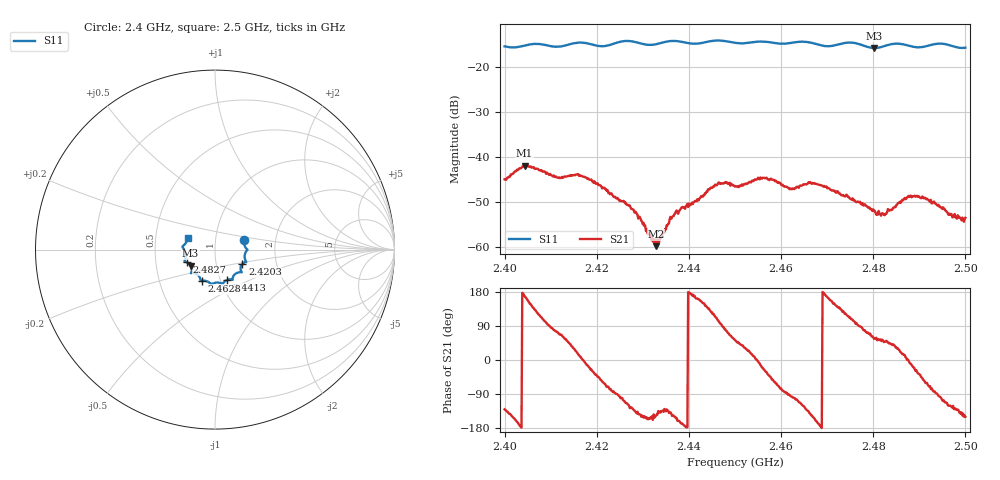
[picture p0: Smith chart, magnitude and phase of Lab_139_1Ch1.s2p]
# Hz S RI R 50
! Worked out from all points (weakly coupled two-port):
!   601 points, 2.4 GHz to 2.5 GHz, reference 50 ohm
!   highest |S21| = -41.88 dB at 2.4043 GHz (marker M1); lowest = -59.7 dB at 2.4328 GHz (marker M2)
!   lowest |S11| = -15.8 dB at 2.4802 GHz (marker M3), VSWR 1.39, Z = 37.5 - j6.92 ohm
!   |S11| at or under -10 dB: start of sweep to end of sweep
!   S12 and S22 are empty: the file has one direction only
!   S11 on the Smith chart (normalised r, x): 2.4 GHz: 1.38, +0.15; 2.4203 GHz: 1.34, -0.22; 2.4413 GHz: 1.08, -0.38; 2.4628 GHz: 0.82, -0.29; 2.4827 GHz: 0.72, -0.10; 2.5 GHz: 0.73, +0.10
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2.4e9  0.1616 0.0528  -0.00367 -0.00434  0 0  0 0
2.404333e9  0.1735 0.00717  -0.0079 0.00158  0 0  0 0
2.411833e9  0.165 -0.0349  0.00223 0.00555  0 0  0 0
2.416667e9  0.1742 -0.069  0.00619 0.000508  0 0  0 0
2.420333e9  0.1525 -0.0792  0.00352 -0.00342  0 0  0 0
2.4275e9  0.1474 -0.1261  -0.00153 -0.00219  0 0  0 0
2.432833e9  0.1023 -0.1477  -0.000868 -0.000555  0 0  0 0
2.433333e9  0.1002 -0.1521  -0.000837 -0.000848  0 0  0 0
2.436833e9  0.098 -0.1689  -0.002 -0.00119  0 0  0 0
2.441333e9  0.0668 -0.1692  -0.00318 0.000805  0 0  0 0
2.446167e9  0.0424 -0.1931  -0.00142 0.00476  0 0  0 0
2.45e9  0.0244 -0.1846  0.00286 0.00376  0 0  0 0
2.4565e9  -0.022 -0.1905  0.00513 -0.00281  0 0  0 0
2.462833e9  -0.0718 -0.1737  -0.000771 -0.00435  0 0  0 0
2.466667e9  -0.0808 -0.1675  -0.0042 -0.00284  0 0  0 0
2.480167e9  -0.136 -0.0898  0.00143 0.0021  0 0  0 0
2.482667e9  -0.1579 -0.0705  0.00155 0.00176  0 0  0 0
2.483333e9  -0.163 -0.0684  0.00188 0.00182  0 0  0 0
2.487167e9  -0.167 -0.0554  0.00345 0.000325  0 0  0 0
2.489333e9  -0.1636 -0.0307  0.00329 -0.00164  0 0  0 0
2.4945e9  -0.1817 0.0162  -0.000368 -0.00281  0 0  0 0
2.5e9  -0.1511 0.0645  -0.00184 -0.00107  0 0  0 0
